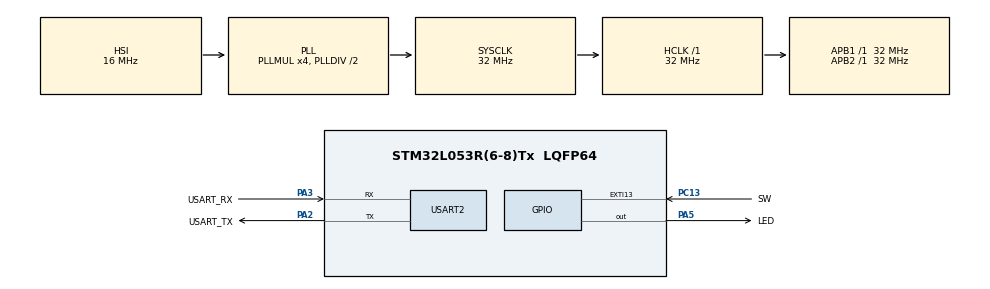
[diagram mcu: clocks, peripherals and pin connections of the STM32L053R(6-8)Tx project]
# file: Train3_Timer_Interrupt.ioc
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Dma.Request0=USART2_RX
Dma.USART2_RX.0.Direction=DMA_PERIPH_TO_MEMORY
Dma.USART2_RX.0.Instance=DMA1_Channel6
Dma.USART2_RX.0.MemDataAlignment=DMA_MDATAALIGN_BYTE
Dma.USART2_RX.0.MemInc=DMA_MINC_ENABLE
Dma.USART2_RX.0.Mode=DMA_CIRCULAR
Dma.USART2_RX.0.PeriphDataAlignment=DMA_PDATAALIGN_BYTE
Dma.USART2_RX.0.PeriphInc=DMA_PINC_DISABLE
Dma.USART2_RX.0.Priority=DMA_PRIORITY_LOW
Mcu.Family=STM32L0
Mcu.Name=STM32L053R(6-8)Tx
Mcu.Package=LQFP64
NVIC.DMA1_Channel4_5_6_7_IRQn=true\:0\:0\:false\:false\:true\:false\:true
NVIC.TIM2_IRQn=true\:0\:0\:false\:false\:true\:true\:true
PA13.GPIO_Label=TMS
PA13.Mode=Serial_Wire
PA13.Signal=SYS_SWDIO
PA14.GPIO_Label=TCK
PA14.Mode=Serial_Wire
PA14.Signal=SYS_SWCLK
PA2.GPIO_Label=USART_TX
PA2.Mode=Asynchronous
PA2.Signal=USART2_TX
PA3.GPIO_Label=USART_RX
PA3.Mode=Asynchronous
PA3.Signal=USART2_RX
PA5.GPIO_Label=LED
PA5.Signal=GPIO_Output
PC13.GPIO_Label=SW
PC13.GPIO_ModeDefaultEXTI=GPIO_MODE_IT_FALLING
PC13.Signal=GPXTI13
PC14-OSC32_IN.Mode=LSE-External-Oscillator
PC14-OSC32_IN.Signal=RCC_OSC32_IN
PC15-OSC32_OUT.Mode=LSE-External-Oscillator
PC15-OSC32_OUT.Signal=RCC_OSC32_OUT
PH0-OSC_IN.Mode=HSE-External-Clock-Source
PH0-OSC_IN.Signal=RCC_OSC_IN
PH1-OSC_OUT.Signal=RCC_OSC_OUT
ProjectManager.HeapSize=0x200
ProjectManager.StackSize=0x400
ProjectManager.TargetToolchain=STM32CubeIDE
RCC.AHBFreq_Value=32000000
RCC.APB1Freq_Value=32000000
RCC.APB1TimFreq_Value=32000000
RCC.APB2Freq_Value=32000000
RCC.APB2TimFreq_Value=32000000
RCC.HCLKFreq_Value=32000000
RCC.HSE_VALUE=8000000
RCC.HSI16_VALUE=16000000
RCC.HSI48_VALUE=48000000
RCC.HSI_VALUE=16000000
RCC.MSIClockRange=RCC_MSIRANGE_6
RCC.MSI_VALUE=4194000
RCC.PLLMUL=RCC_PLLMUL_4
RCC.SYSCLKFreq_VALUE=32000000
RCC.SYSCLKSource=RCC_SYSCLKSOURCE_PLLCLK
RCC.VCOOutputFreq_Value=64000000
TIM2.AutoReloadPreload=TIM_AUTORELOAD_PRELOAD_ENABLE
TIM2.Channel-Output\ Compare1\ No\ Output=TIM_CHANNEL_1
TIM2.Period=1000-1
TIM2.Prescaler=32000-1
TIM2.Pulse-Output\ Compare1\ No\ Output=800
USART2.Parity=PARITY_NONE
USART2.VirtualMode-Asynchronous=VM_ASYNC
VP_TIM2_VS_ClockSourceINT.Mode=Internal
VP_TIM2_VS_no_output1.Mode=Output Compare1 No Output
board=NUCLEO-L053R8

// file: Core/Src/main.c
/* USER CODE BEGIN Header */
/*
 * Train3 Timer Interrupt
 * 目的：タイマのオーバーフロー割込みとコンペアマッチ割込みの確認
 * 確認方法：1秒間隔でオーバーフローするタイマを使用し、0.8秒の一瞬だけLEDを消灯させる
 * 流れ：スイッチを押すと、1秒タイマがスタートする
 * 0.8秒のタイミングでコンペアマッチ割込みが発生し、LEDを消灯
 * 1秒経過でオーバーフロー割込みが発生し、LEDを点灯させる
 */

/**
 ******************************************************************************
 * @file           : main.c
 * @brief          : Main program body
 ******************************************************************************
 * @attention
 *
 * <h2><center>&copy; Copyright (c) 2020 STMicroelectronics.
 * All rights reserved.</center></h2>
 *
 * This software component is licensed by ST under BSD 3-Clause license,
 * the "License"; You may not use this file except in compliance with the
 * License. You may obtain a copy of the License at:
 *                        opensource.org/licenses/BSD-3-Clause
 *
 ******************************************************************************
 */
/* USER CODE END Header */
#include "main.h"

/* USER CODE BEGIN Includes */
#include "LED.h"
#include <string.h>
#include <stdbool.h>

#include "UART.h"

/* USER CODE END Includes */

/* USER CODE BEGIN PD */

#define SW_ON 0
#define SW_OFF 1
//#define MYDEBUG

/* USER CODE END PD */

TIM_HandleTypeDef htim2;

UART_HandleTypeDef huart2;
DMA_HandleTypeDef hdma_usart2_rx;

void SystemClock_Config(void);
static void MX_GPIO_Init(void);
static void MX_DMA_Init(void);
static void MX_USART2_UART_Init(void);
static void MX_TIM2_Init(void);

int main(void) {
	/* USER CODE BEGIN 1 */

#ifdef MYDEBUG
	uint8_t buffer[256] = "";
	uint8_t str_initmeseg[] = "Start My Program\r\n\r\n";
	uint8_t str_test[] = "test";
#endif

	bool SWState = SW_OFF;
	bool SWStateOld = SW_OFF;

	bool flg = false;

	/* USER CODE END 1 */

	/* MCU Configuration--------------------------------------------------------*/

	/* Reset of all peripherals, Initializes the Flash interface and the Systick. */
	HAL_Init();

	/* Configure the system clock */
	SystemClock_Config();

	/* Initialize all configured peripherals */
	MX_GPIO_Init();
	MX_DMA_Init();
	MX_USART2_UART_Init();
	MX_TIM2_Init();
	/* USER CODE BEGIN 2 */

#ifdef MYDEBUG
	// デバッグ用
	HAL_UART_Transmit(&huart2, str_initmeseg, strlen(str_initmeseg), 0xffff);
	// UART_Reciev_DMA init
	msgrx_init(&huart2);
#endif

	/* USER CODE END 2 */

	/* Infinite loop */
	while (1) {

		/* USER CODE BEGIN 3 */

		// スイッチをリード
		SWState = HAL_GPIO_ReadPin(SW_GPIO_Port, SW_Pin);
		// スイッチを押した時だけ
		if (SWStateOld == SW_OFF && SWState == SW_ON) {

			if (flg == false) {			// 1回目のみ実行
#ifdef MYDEBUG
				// デバッグ用
				printUART("Start Timer : ", 0);
#endif
				// タイマ スタート
				HAL_TIM_Base_Start_IT(&htim2);
				HAL_TIM_OC_Start_IT(&htim2, TIM_CHANNEL_1);

			} else {								// 2回目以降実行

#ifdef MYDEBUG
				// デバッグ用
				printUART("Stop Timer : ", 0);
#endif
				// タイマ ストップ
				HAL_TIM_Base_Stop_IT(&htim2);
				HAL_TIM_OC_Stop_IT(&htim2, TIM_CHANNEL_1);

			}
		}

		// スイッチの過去状態を更新
		SWStateOld = SWState;

	}
	/* USER CODE END 3 */
}

void SystemClock_Config(void) {
	RCC_OscInitTypeDef RCC_OscInitStruct = { 0 };
	RCC_ClkInitTypeDef RCC_ClkInitStruct = { 0 };
	RCC_PeriphCLKInitTypeDef PeriphClkInit = { 0 };

	/** Configure the main internal regulator output voltage
	 */
	__HAL_PWR_VOLTAGESCALING_CONFIG(PWR_REGULATOR_VOLTAGE_SCALE1);
	/** Initializes the RCC Oscillators according to the specified parameters
	 * in the RCC_OscInitTypeDef structure.
	 */
	RCC_OscInitStruct.OscillatorType = RCC_OSCILLATORTYPE_HSI;
	RCC_OscInitStruct.HSIState = RCC_HSI_ON;
	RCC_OscInitStruct.HSICalibrationValue = RCC_HSICALIBRATION_DEFAULT;
	RCC_OscInitStruct.PLL.PLLState = RCC_PLL_ON;
	RCC_OscInitStruct.PLL.PLLSource = RCC_PLLSOURCE_HSI;
	RCC_OscInitStruct.PLL.PLLMUL = RCC_PLLMUL_4;
	RCC_OscInitStruct.PLL.PLLDIV = RCC_PLLDIV_2;
	if (HAL_RCC_OscConfig(&RCC_OscInitStruct) != HAL_OK) {
		Error_Handler();
	}
	/** Initializes the CPU, AHB and APB buses clocks
	 */
	RCC_ClkInitStruct.ClockType = RCC_CLOCKTYPE_HCLK | RCC_CLOCKTYPE_SYSCLK
			| RCC_CLOCKTYPE_PCLK1 | RCC_CLOCKTYPE_PCLK2;
	RCC_ClkInitStruct.SYSCLKSource = RCC_SYSCLKSOURCE_PLLCLK;
	RCC_ClkInitStruct.AHBCLKDivider = RCC_SYSCLK_DIV1;
	RCC_ClkInitStruct.APB1CLKDivider = RCC_HCLK_DIV1;
	RCC_ClkInitStruct.APB2CLKDivider = RCC_HCLK_DIV1;

	if (HAL_RCC_ClockConfig(&RCC_ClkInitStruct, FLASH_LATENCY_1) != HAL_OK) {
		Error_Handler();
	}
	PeriphClkInit.PeriphClockSelection = RCC_PERIPHCLK_USART2;
	PeriphClkInit.Usart2ClockSelection = RCC_USART2CLKSOURCE_PCLK1;
	if (HAL_RCCEx_PeriphCLKConfig(&PeriphClkInit) != HAL_OK) {
		Error_Handler();
	}
}

static void MX_TIM2_Init(void) {

	TIM_ClockConfigTypeDef sClockSourceConfig = { 0 };
	TIM_MasterConfigTypeDef sMasterConfig = { 0 };
	TIM_OC_InitTypeDef sConfigOC = { 0 };

	htim2.Instance = TIM2;
	htim2.Init.Prescaler = 32000 - 1;
	htim2.Init.CounterMode = TIM_COUNTERMODE_UP;
	htim2.Init.Period = 1000 - 1;
	htim2.Init.ClockDivision = TIM_CLOCKDIVISION_DIV1;
	htim2.Init.AutoReloadPreload = TIM_AUTORELOAD_PRELOAD_ENABLE;
	if (HAL_TIM_Base_Init(&htim2) != HAL_OK) {
		Error_Handler();
	}
	sClockSourceConfig.ClockSource = TIM_CLOCKSOURCE_INTERNAL;
	if (HAL_TIM_ConfigClockSource(&htim2, &sClockSourceConfig) != HAL_OK) {
		Error_Handler();
	}
	if (HAL_TIM_OC_Init(&htim2) != HAL_OK) {
		Error_Handler();
	}
	sMasterConfig.MasterOutputTrigger = TIM_TRGO_RESET;
	sMasterConfig.MasterSlaveMode = TIM_MASTERSLAVEMODE_DISABLE;
	if (HAL_TIMEx_MasterConfigSynchronization(&htim2, &sMasterConfig)
			!= HAL_OK) {
		Error_Handler();
	}
	sConfigOC.OCMode = TIM_OCMODE_TIMING;
	sConfigOC.Pulse = 800;
	sConfigOC.OCPolarity = TIM_OCPOLARITY_HIGH;
	sConfigOC.OCFastMode = TIM_OCFAST_DISABLE;
	if (HAL_TIM_OC_ConfigChannel(&htim2, &sConfigOC, TIM_CHANNEL_1) != HAL_OK) {
		Error_Handler();
	}

}

static void MX_USART2_UART_Init(void) {

	huart2.Instance = USART2;
	huart2.Init.BaudRate = 115200;
	huart2.Init.WordLength = UART_WORDLENGTH_8B;
	huart2.Init.StopBits = UART_STOPBITS_1;
	huart2.Init.Parity = UART_PARITY_NONE;
	huart2.Init.Mode = UART_MODE_TX_RX;
	huart2.Init.HwFlowCtl = UART_HWCONTROL_NONE;
	huart2.Init.OverSampling = UART_OVERSAMPLING_16;
	huart2.Init.OneBitSampling = UART_ONE_BIT_SAMPLE_DISABLE;
	huart2.AdvancedInit.AdvFeatureInit = UART_ADVFEATURE_NO_INIT;
	if (HAL_UART_Init(&huart2) != HAL_OK) {
		Error_Handler();
	}

}

static void MX_DMA_Init(void) {

	/* DMA controller clock enable */
	__HAL_RCC_DMA1_CLK_ENABLE();

	/* DMA interrupt init */
	/* DMA1_Channel4_5_6_7_IRQn interrupt configuration */
	HAL_NVIC_SetPriority(DMA1_Channel4_5_6_7_IRQn, 0, 0);
	HAL_NVIC_EnableIRQ(DMA1_Channel4_5_6_7_IRQn);

}

static void MX_GPIO_Init(void) {
	GPIO_InitTypeDef GPIO_InitStruct = { 0 };

	/* GPIO Ports Clock Enable */
	__HAL_RCC_GPIOC_CLK_ENABLE();
	__HAL_RCC_GPIOH_CLK_ENABLE();
	__HAL_RCC_GPIOA_CLK_ENABLE();

	/*Configure GPIO pin Output Level */
	HAL_GPIO_WritePin(LED_GPIO_Port, LED_Pin, GPIO_PIN_RESET);

	/*Configure GPIO pin : SW_Pin */
	GPIO_InitStruct.Pin = SW_Pin;
	GPIO_InitStruct.Mode = GPIO_MODE_IT_FALLING;
	GPIO_InitStruct.Pull = GPIO_NOPULL;
	HAL_GPIO_Init(SW_GPIO_Port, &GPIO_InitStruct);

	/*Configure GPIO pin : LED_Pin */
	GPIO_InitStruct.Pin = LED_Pin;
	GPIO_InitStruct.Mode = GPIO_MODE_OUTPUT_PP;
	GPIO_InitStruct.Pull = GPIO_NOPULL;
	GPIO_InitStruct.Speed = GPIO_SPEED_FREQ_LOW;
	HAL_GPIO_Init(LED_GPIO_Port, &GPIO_InitStruct);

}

/* USER CODE BEGIN 4 */

// タイマオーバーフロー 割込み コールバック
void HAL_TIM_PeriodElapsedCallback(TIM_HandleTypeDef *htim) {

	// 1秒タイマの処理
	if (htim == &htim2) {
		// LEDを点灯させる
		HAL_GPIO_WritePin(LED_GPIO_Port, LED_Pin, GPIO_PIN_SET);
#ifdef MYDEBUG
		// デバッグ用
		printUART("Time int", (uint16_t) htim2.Instance->CNT);
#endif
	}

}

// 比較一致 割込み コールバック
void HAL_TIM_OC_DelayElapsedCallback(TIM_HandleTypeDef *htim) {

	// 1秒タイマの処理
	if (htim == &htim2) {
		// 0.8秒ごとにLEDを消灯させる
		HAL_GPIO_WritePin(LED_GPIO_Port, LED_Pin, GPIO_PIN_RESET);

#ifdef MYDEBUG
		// デバッグ用
		printUART("Time OC int", (uint16_t) htim2.Instance->CNT);
#endif

	}

}

/* USER CODE END 4 */

void Error_Handler(void) {
}

/************************ (C) COPYRIGHT STMicroelectronics *****END OF FILE****/
